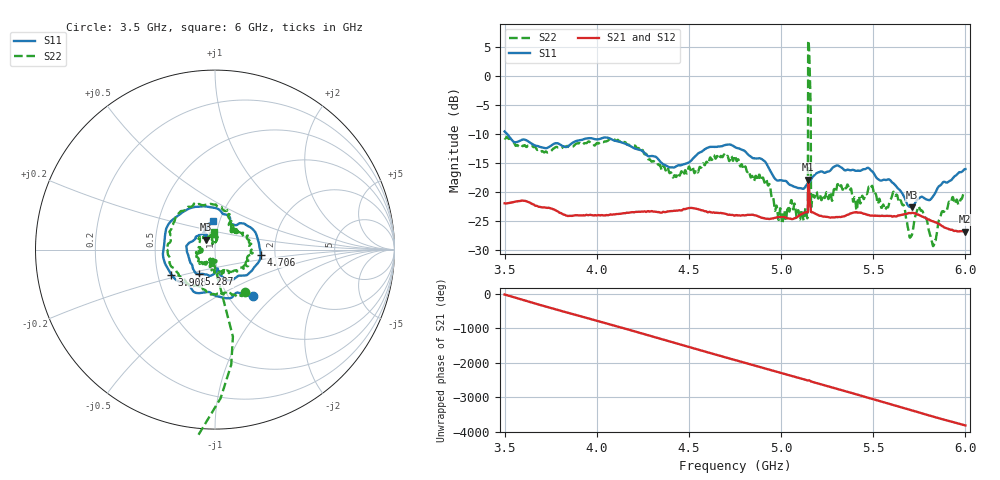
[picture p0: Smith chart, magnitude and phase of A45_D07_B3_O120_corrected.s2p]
! Created with skrf 1.9.0 (http://scikit-rf.org).
# Hz S RI R 50.0
!freq ReS11 ImS11 ReS21 ImS21 ReS12 ImS12 ReS22 ImS22
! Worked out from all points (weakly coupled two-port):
!   1601 points, 3.5 GHz to 6 GHz, reference 50 ohm
!   highest |S21| = -17.87 dB at 5.147 GHz (marker M1); lowest = -26.9 dB at 5.995 GHz (marker M2)
!   lowest |S11| = -22.7 dB at 5.709 GHz (marker M3), VSWR 1.16, Z = 45.1 + j4.96 ohm
!   |S11| at or under -10 dB: 3.514 GHz to end of sweep
!   |S22| runs from -29.4 to 6.2 dB; largest |S21 - S12| = 0.00099
!   S11 on the Smith chart (normalised r, x): 3.5 GHz: 1.29, -0.75; 3.908 GHz: 0.59, -0.18; 4.706 GHz: 1.68, -0.10; 5.287 GHz: 0.80, -0.23; 6 GHz: 0.94, +0.30
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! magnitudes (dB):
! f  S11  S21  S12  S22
! 3.5 GHz  -9.5  -22.0  -22.0  -10.7
! 3.908 GHz  -11.1  -24.1  -24.1  -11.5
! 3.917 GHz  -11.0  -24.1  -24.1  -11.7
! 4.334 GHz  -14.4  -23.5  -23.5  -15.3
! 4.706 GHz  -11.8  -23.9  -23.8  -13.8
! 4.75 GHz  -12.2  -24.1  -24.0  -13.8
! 4.928 GHz  -15.6  -24.7  -24.6  -18.8
! 4.997 GHz  -18.0  -24.4  -24.4  -22.9
! 5.133 GHz  -19.1  -23.5  -23.5  -22.8
! 5.147 GHz  -18.5  -17.9  -17.9  5.8
! 5.159 GHz  -18.1  -22.7  -22.7  -3.8
! 5.167 GHz  -17.6  -23.5  -23.5  -21.7
! 5.175 GHz  -17.3  -23.6  -23.6  -20.6
! 5.287 GHz  -15.7  -24.4  -24.4  -19.5
! 5.584 GHz  -17.8  -24.2  -24.1  -22.3
! 5.62 GHz  -18.9  -24.2  -24.3  -20.7
! 5.709 GHz  -22.7  -23.6  -23.6  -27.5
! 5.753 GHz  -21.0  -24.1  -24.1  -22.9
! 5.83 GHz  -20.5  -25.2  -25.2  -29.2
! 5.875 GHz  -18.5  -26.0  -25.9  -23.4
! 5.995 GHz  -16.1  -26.9  -26.8  -20.3
! 6 GHz  -16.1  -26.9  -26.8  -20.2
